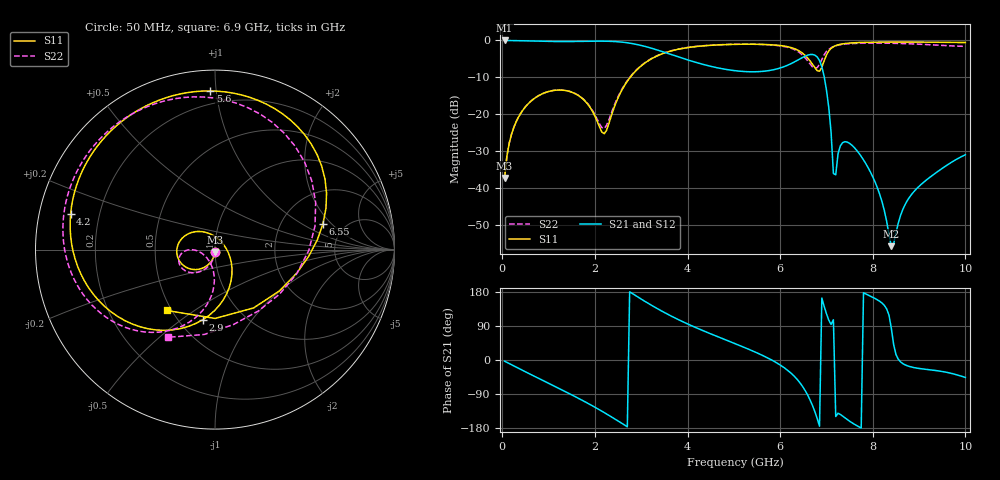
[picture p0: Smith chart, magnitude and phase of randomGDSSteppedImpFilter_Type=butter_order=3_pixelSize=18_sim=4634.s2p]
! freq	dB(S11)	phase(S11)	dB(S12)	phase(S12)
!  dB(S21)	phase(S21)	dB(S22)	phase(S22)
!S-par simulation data
#  GHz  S  DB  R 50
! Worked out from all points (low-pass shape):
!   200 points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, 50 MHz to 10 GHz, reference 50 ohm
!   highest |S21| = -0.01 dB at 50 MHz (marker M1); lowest = -55.6 dB at 8.4 GHz (marker M2)
!   |S21| within 3 dB of the highest: start of sweep to 3.452 GHz
!   lowest |S11| = -37.2 dB at 50 MHz (marker M3), VSWR 1.03, Z = 49.9 - j1.38 ohm
!   |S11| at or under -10 dB: start of sweep to 2.761 GHz
!   |S22| runs from -37.2 to -0.7 dB; largest |S21 - S12| = 0
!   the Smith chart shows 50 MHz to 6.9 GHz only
!   S11 on the Smith chart (normalised r, x): 50 MHz: 1.00, -0.03; 2.9 GHz: 0.65, -0.60; 4.2 GHz: 0.09, +0.12; 5.6 GHz: 0.12, +0.96; 6.55 GHz: 3.44, +1.60; 6.9 GHz: 0.47, -0.39
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0.05  -37.16 -93.1  -0.01 -3.2  -0.01 -3.2  -37.16 -92.5
0.2  -25.34 -103.8  -0.03 -12.6  -0.03 -12.6  -25.33 -101.4
0.55  -17.25 -128.0  -0.13 -34.2  -0.13 -34.2  -17.24 -121.2
1.75  -15.93 143.0  -0.25 -107.9  -0.25 -107.9  -15.85 -178.2
2.2  -25.23 35.8  -0.20 -138.6  -0.20 -138.6  -23.79 -133.8
2.9  -8.02 -100.0  -1.08 168.3  -1.08 168.3  -7.91 -106.8
3.4  -3.88 -141.9  -2.80 132.0  -2.80 132.0  -3.82 -136.5
4.2  -1.63 166.0  -6.01 84.4  -6.01 84.4  -1.59 -178.0
5.05  -1.05 120.8  -8.22 42.0  -8.22 42.0  -1.03 144.0
5.6  -1.07 91.7  -8.39 13.2  -8.39 13.2  -1.08 116.8
6.15  -1.67 56.0  -6.76 -26.1  -6.76 -26.1  -1.81 76.9
6.55  -4.18 13.4  -4.20 -82.8  -4.20 -82.8  -4.85 13.2
6.7  -6.49 -16.1  -3.80 -120.7  -3.80 -120.7  -7.19 -34.6
6.9  -7.26 -128.6  -7.10 163.6  -7.10 163.6  -5.14 -118.0
7.05  -2.83 146.8  -18.13 105.1  -18.13 105.1  -2.45 -172.3
7.15  -1.71 117.6  -35.99 106.1  -35.99 106.1  -1.65 164.0
7.35  -0.93 85.6  -27.62 -148.2  -27.62 -148.2  -1.07 132.2
7.6  -0.63 62.8  -28.95 -169.3  -28.95 -169.3  -0.82 106.1
8.35  -0.44 21.8  -52.49 118.4  -52.49 118.4  -0.75 47.7
8.4  -0.44 19.6  -55.62 84.0  -55.62 84.0  -0.76 43.8
9.15  -0.46 -9.9  -37.81 -24.7  -37.81 -24.7  -1.11 -20.4
10  -0.57 -38.7  -30.91 -46.1  -30.91 -46.1  -1.61 -110.9
